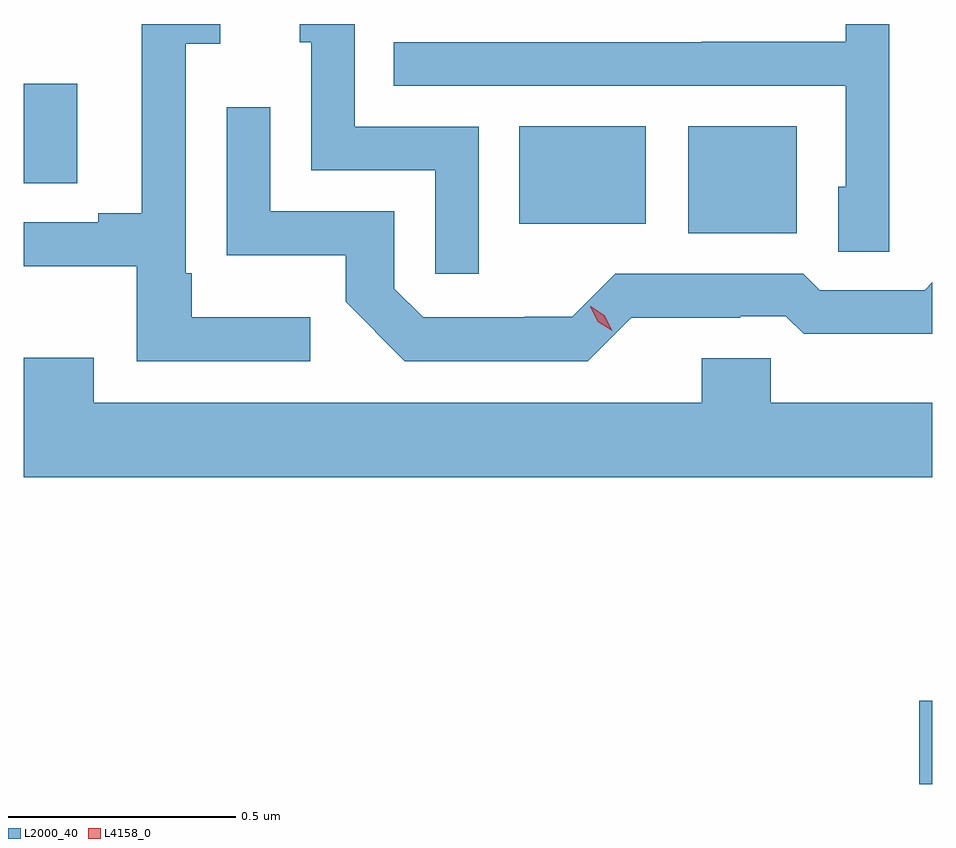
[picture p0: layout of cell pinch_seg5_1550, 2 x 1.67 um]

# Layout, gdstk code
import gdstk
lib = gdstk.Library(unit=1e-6, precision=1e-09)
def R(c, l, rs):  # rectangles x0, y0, x1, y1
    for r in rs: c.add(gdstk.rectangle(r[:2], r[2:], *l))
def P(c, l, *ps):  # polygons
    for p in ps: c.add(gdstk.Polygon(p, *l))
L2000_40 = (2000, 40)
L4158_0 = (4158, 0)

pinch_seg5_1550 = lib.new_cell('pinch_seg5_1550')
R(pinch_seg5_1550, L2000_40, [(208.866,846.761,208.895,846.944), (208.358,847.973,208.597,848.209), (207.986,847.994,208.264,848.209), (206.895,848.083,207.013,848.302)])
P(pinch_seg5_1550, L2000_40, [(208.8,848.434),(208.704,848.434),(208.704,848.395),(208.387,848.395),(208.387,848.394),(207.709,848.394),(207.709,848.298),(208.704,848.298),(208.704,848.076),(208.688,848.076),(208.688,847.933),(208.8,847.933)],
  [(207.897,848.208),(207.624,848.208),(207.624,848.434),(207.503,848.434),(207.503,848.394),(207.528,848.394),(207.528,848.112),(207.801,848.112),(207.801,847.884),(207.897,847.884)],
  [(207.526,847.789),(207.265,847.789),(207.265,847.885),(207.252,847.885),(207.252,848.39),(207.328,848.39),(207.328,848.434),(207.155,848.434),(207.155,848.017),(207.059,848.017),(207.059,847.998),(206.895,847.998),(206.895,847.901),(207.144,847.901),(207.144,847.692),(207.526,847.692)],
  [(208.232,847.787),(208.472,847.787),(208.472,847.791),(208.572,847.791),(208.612,847.752),(208.895,847.752),(208.895,847.865),(208.878,847.848),(208.647,847.848),(208.611,847.884),(208.197,847.884),(208.103,847.79),(207.998,847.79),(207.998,847.788),(207.774,847.788),(207.711,847.851),(207.711,848.022),(207.438,848.022),(207.438,848.251),(207.342,848.251),(207.342,847.925),(207.604,847.925),(207.604,847.823),(207.734,847.692),(208.137,847.692)],
  [(208.895,847.6),(208.539,847.6),(208.539,847.698),(208.388,847.698),(208.388,847.6),(207.049,847.6),(207.049,847.699),(206.895,847.699),(206.895,847.436),(208.895,847.436)])
P(pinch_seg5_1550, L4158_0, [(208.19,847.759),(208.159,847.779),(208.142,847.813),(208.142,847.813),(208.143,847.813),(208.174,847.792),(208.19,847.759),(208.19,847.759)])

lib.write_gds('pinch_seg5_1550.gds')
